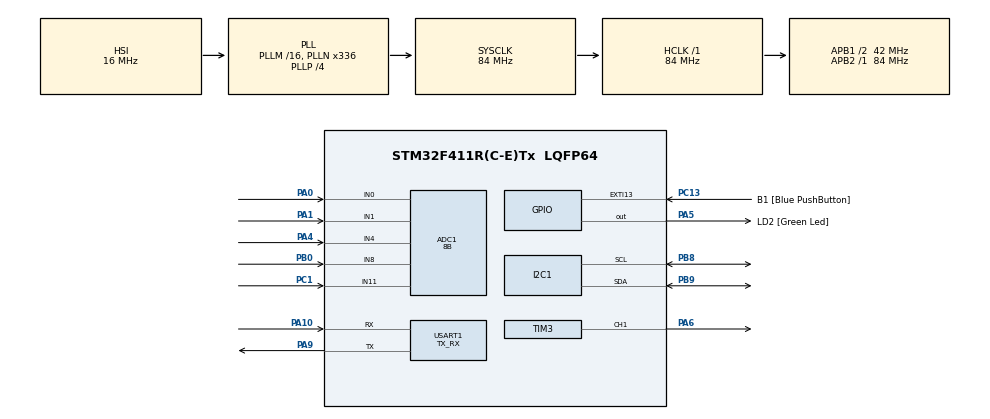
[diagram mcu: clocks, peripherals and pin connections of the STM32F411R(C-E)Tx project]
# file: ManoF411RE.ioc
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Mcu.Family=STM32F4
FREERTOS.Queues01=Queue,16,struct datos,0,Dynamic,NULL,NULL;myQueue02,16,struct presion,0,Dynamic,NULL,NULL
RCC.CortexFreq_Value=84000000
FREERTOS.BinarySemaphores01=BinarySem,Dynamic,NULL
ADC1.ContinuousConvMode=ENABLE
SH.SharedAnalog_PA4.0=GPIO_Analog
SH.SharedAnalog_PA4.1=ADC1_IN4,IN4
FREERTOS.Events01=Flag,Dynamic,NULL
USART1.WordLength=WORDLENGTH_8B
PA14.GPIO_Label=TCK
RCC.SYSCLKSource=RCC_SYSCLKSOURCE_PLLCLK
ProjectManager.StackSize=0x400
VP_FREERTOS_VS_CMSIS_V2.Mode=CMSIS_V2
PH0\ -\ OSC_IN.Signal=RCC_OSC_IN
ADC1.Channel-3\#ChannelRegularConversion=ADC_CHANNEL_8
RCC.HCLKFreq_Value=84000000
ADC1.Resolution=ADC_RESOLUTION_8B
RCC.APB2TimFreq_Value=84000000
TIM3.Period=20000
ADC1.Channel-2\#ChannelRegularConversion=ADC_CHANNEL_4
ADC1.InjNumberOfConversion=0
RCC.AHBFreq_Value=84000000
TIM3.Channel-PWM\ Generation1\ CH1=TIM_CHANNEL_1
ADC1.Channel-0\#ChannelRegularConversion=ADC_CHANNEL_0
RCC.HSE_VALUE=8000000
ADC1.ScanConvMode=ENABLE
PC13-ANTI_TAMP.Signal=GPXTI13
SH.SharedAnalog_PC1.0=GPIO_Analog
ADC1.SamplingTime-4\#ChannelRegularConversion=ADC_SAMPLETIME_480CYCLES
ADC1.Rank-2\#ChannelRegularConversion=3
PC14-OSC32_IN.Mode=LSE-External-Oscillator
PA14.Mode=Serial_Wire
TIM3.Prescaler=84-1
SH.SharedAnalog_PC1.1=ADC1_IN11,IN11
SH.SharedAnalog_PB0.0=GPIO_Analog
SH.S_TIM3_CH1.0=TIM3_CH1,PWM Generation1 CH1
ADC1.SamplingTime-0\#ChannelRegularConversion=ADC_SAMPLETIME_480CYCLES
RCC.FLatency-AdvancedSettings=FLASH_LATENCY_2
SH.SharedAnalog_PB0.1=ADC1_IN8,IN8
Mcu.Package=LQFP64
PB9.Signal=I2C1_SDA
PA6.Signal=S_TIM3_CH1
PA10.Signal=USART1_RX
RCC.APB1TimFreq_Value=84000000
NVIC.USART1_IRQn=true\:5\:0\:false\:false\:true\:true\:true\:true
VP_TIM3_VS_ClockSourceINT.Mode=Internal
ADC1.Rank-4\#ChannelRegularConversion=5
PB3.GPIO_Label=SWO
PC15-OSC32_OUT.Mode=LSE-External-Oscillator
FREERTOS.Tasks01=Tarea1,24,128,Presion,Default,NULL,Dynamic,NULL,NULL;Tarea2,24,128,MoveServos,Default,NULL,Dynamic,NULL,NULL
ADC1.Rank-0\#ChannelRegularConversion=1
ADC1.Channel-4\#ChannelRegularConversion=ADC_CHANNEL_11
PA10.Mode=Asynchronous
PC13-ANTI_TAMP.GPIO_Label=B1 [Blue PushButton]
SH.SharedAnalog_PA0.0=GPIO_Analog
SH.SharedAnalog_PA0.1=ADC1_IN0,IN0
PH1\ -\ OSC_OUT.Mode=HSE-External-Clock-Source
RCC.APB1CLKDivider=RCC_HCLK_DIV2
PC14-OSC32_IN.Signal=RCC_OSC32_IN
ADC1.SamplingTime-2\#ChannelRegularConversion=ADC_SAMPLETIME_480CYCLES
PA0-WKUP.Signal=SharedAnalog_PA0
PA13.Signal=SYS_JTMS-SWDIO
PA9.Mode=Asynchronous
PH0\ -\ OSC_IN.Mode=HSE-External-Clock-Source
TIM3.Pulse-PWM\ Generation1\ CH1=500
ProjectManager.TargetToolchain=STM32CubeIDE
I2C1.I2C_Mode=I2C_Fast
PB9.Mode=I2C
PA9.Signal=USART1_TX
USART1.Parity=PARITY_NONE
ADC1.Channel-1\#ChannelRegularConversion=ADC_CHANNEL_1
PC15-OSC32_OUT.Signal=RCC_OSC32_OUT
PA1.Signal=SharedAnalog_PA1
PA5.Signal=GPIO_Output
PH1\ -\ OSC_OUT.Signal=RCC_OSC_OUT
board=NUCLEO-F411RE
RCC.VCOOutputFreq_Value=336000000
RCC.APB2Freq_Value=84000000
USART1.Mode=MODE_TX_RX
ADC1.NbrOfConversion=5
PA13.Mode=Serial_Wire
Mcu.Name=STM32F411R(C-E)Tx
PA13.GPIO_Label=TMS
RCC.48MHZClocksFreq_Value=84000000
PB3.Signal=SYS_JTDO-SWO
PA4.Signal=SharedAnalog_PA4
ADC1.SamplingTime-1\#ChannelRegularConversion=ADC_SAMPLETIME_480CYCLES
RCC.SYSCLKFreq_VALUE=84000000
ADC1.master=1
PA5.GPIO_Label=LD2 [Green Led]
ADC1.Rank-3\#ChannelRegularConversion=4
ADC1.SamplingTime-3\#ChannelRegularConversion=ADC_SAMPLETIME_480CYCLES
USART1.VirtualMode=VM_ASYNC
PC13-ANTI_TAMP.GPIO_ModeDefaultEXTI=GPIO_MODE_IT_FALLING
ADC1.Rank-1\#ChannelRegularConversion=2
PA14.Signal=SYS_JTCK-SWCLK
ProjectManager.HeapSize=0x200
RCC.HSI_VALUE=16000000
SH.SharedAnalog_PA1.1=ADC1_IN1,IN1
RCC.PLLP=RCC_PLLP_DIV4
NVIC.PriorityGroup=NVIC_PRIORITYGROUP_4
SH.SharedAnalog_PA1.0=GPIO_Analog
ADC1.NbrOfConversionFlag=1
PB8.Mode=I2C
RCC.PLLN=336
PB8.Signal=I2C1_SCL
RCC.APB1Freq_Value=42000000
PB0.Signal=SharedAnalog_PB0
PC1.Signal=SharedAnalog_PC1

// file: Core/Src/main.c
/* USER CODE BEGIN Header */
/**
  ******************************************************************************
  * @file           : main.c
  * @brief          : Main program body
  ******************************************************************************
  * @attention
  *
  * <h2><center>&copy; Copyright (c) 2021 STMicroelectronics.
  * All rights reserved.</center></h2>
  *
  * This software component is licensed by ST under BSD 3-Clause license,
  * the "License"; You may not use this file except in compliance with the
  * License. You may obtain a copy of the License at:
  *                        opensource.org/licenses/BSD-3-Clause
  *
  ******************************************************************************
  */
/* USER CODE END Header */
#include "main.h"
#include "cmsis_os.h"

#include "pca9685_module.h"
#include "app_common_typedef.h"

ADC_HandleTypeDef hadc1;

I2C_HandleTypeDef hi2c1;

TIM_HandleTypeDef htim3;

UART_HandleTypeDef huart1;

/* Definitions for Tarea1 */
osThreadId_t Tarea1Handle;
const osThreadAttr_t Tarea1_attributes = {
  .name = "Tarea1",
  .stack_size = 128 * 4,
  .priority = (osPriority_t) osPriorityNormal,
};
/* Definitions for Tarea2 */
osThreadId_t Tarea2Handle;
const osThreadAttr_t Tarea2_attributes = {
  .name = "Tarea2",
  .stack_size = 128 * 4,
  .priority = (osPriority_t) osPriorityNormal,
};
/* Definitions for Queue */
osMessageQueueId_t QueueHandle;
const osMessageQueueAttr_t Queue_attributes = {
  .name = "Queue"
};
/* Definitions for myQueue02 */
osMessageQueueId_t myQueue02Handle;
const osMessageQueueAttr_t myQueue02_attributes = {
  .name = "myQueue02"
};
/* Definitions for BinarySem */
osSemaphoreId_t BinarySemHandle;
const osSemaphoreAttr_t BinarySem_attributes = {
  .name = "BinarySem"
};
/* Definitions for Flag */
osEventFlagsId_t FlagHandle;
const osEventFlagsAttr_t Flag_attributes = {
  .name = "Flag"
};

void SystemClock_Config(void);
static void MX_GPIO_Init(void);
static void MX_I2C1_Init(void);
static void MX_USART1_UART_Init(void);
static void MX_ADC1_Init(void);
static void MX_TIM3_Init(void);
void Presion(void *argument);
void MoveServos(void *argument);

/* USER CODE BEGIN 0 */
//DEFINE HERE
#define Pulgar
#define Indice
#define Medio
#define Anular
#define Menique

#define Gyroscope
#define Press_On
#define Run

#define OPEN 180
#define PressMaxIndice  25
#define PressMaxPalma   10

//GLOBAL VARIABLE HERE
uint8_t buffRx[9];
struct datos Dedos;
Init_State Flag_Init = OPEN_HAND;

//END GLOBAL VARIABLES

//DEBUG VARIABLES
struct presion press;

uint8_t buffError[1] = {20};
//uint8_t count = 0;
//uint8_t testigo = 0;

//struct datos buff;

//END DEBUG VARIABLES

/* USER CODE END 0 */

int main(void)
{

  /* MCU Configuration--------------------------------------------------------*/

  /* Reset of all peripherals, Initializes the Flash interface and the Systick. */
  HAL_Init();

  /* Configure the system clock */
  SystemClock_Config();

  /* Initialize all configured peripherals */
  MX_GPIO_Init();
  MX_I2C1_Init();
  MX_USART1_UART_Init();
  MX_ADC1_Init();
  MX_TIM3_Init();
  /* USER CODE BEGIN 2 */

  __HAL_UART_ENABLE_IT(&huart1,UART_IT_TC);
  __HAL_UART_ENABLE_IT(&huart1,UART_IT_RXNE);

	pca9685_init(&hi2c1, 0x80);
	HAL_TIM_PWM_Start(&htim3, TIM_CHANNEL_1);

  /* USER CODE END 2 */

  /* Init scheduler */
  osKernelInitialize();

  /* Create the semaphores(s) */
  /* creation of BinarySem */
  BinarySemHandle = osSemaphoreNew(1, 1, &BinarySem_attributes);

  /* Create the queue(s) */
  /* creation of Queue */
  QueueHandle = osMessageQueueNew (16, sizeof(struct datos), &Queue_attributes);

  /* creation of myQueue02 */
  myQueue02Handle = osMessageQueueNew (16, sizeof(struct presion), &myQueue02_attributes);

  /* Create the thread(s) */
  /* creation of Tarea1 */
  Tarea1Handle = osThreadNew(Presion, NULL, &Tarea1_attributes);

  /* creation of Tarea2 */
  Tarea2Handle = osThreadNew(MoveServos, NULL, &Tarea2_attributes);

  /* Create the event(s) */
  /* creation of Flag */
  FlagHandle = osEventFlagsNew(&Flag_attributes);

  /* USER CODE BEGIN RTOS_EVENTS */
  /* add events, ... */

  HAL_UART_Receive_IT(&huart1,buffRx,9);

  /* USER CODE END RTOS_EVENTS */

  /* Start scheduler */
  osKernelStart();

  /* We should never get here as control is now taken by the scheduler */
  /* Infinite loop */
  while (1)
  {

  }
}

void SystemClock_Config(void)
{
  RCC_OscInitTypeDef RCC_OscInitStruct = {0};
  RCC_ClkInitTypeDef RCC_ClkInitStruct = {0};

  /** Configure the main internal regulator output voltage
  */
  __HAL_RCC_PWR_CLK_ENABLE();
  __HAL_PWR_VOLTAGESCALING_CONFIG(PWR_REGULATOR_VOLTAGE_SCALE1);
  /** Initializes the RCC Oscillators according to the specified parameters
  * in the RCC_OscInitTypeDef structure.
  */
  RCC_OscInitStruct.OscillatorType = RCC_OSCILLATORTYPE_HSI;
  RCC_OscInitStruct.HSIState = RCC_HSI_ON;
  RCC_OscInitStruct.HSICalibrationValue = RCC_HSICALIBRATION_DEFAULT;
  RCC_OscInitStruct.PLL.PLLState = RCC_PLL_ON;
  RCC_OscInitStruct.PLL.PLLSource = RCC_PLLSOURCE_HSI;
  RCC_OscInitStruct.PLL.PLLM = 16;
  RCC_OscInitStruct.PLL.PLLN = 336;
  RCC_OscInitStruct.PLL.PLLP = RCC_PLLP_DIV4;
  RCC_OscInitStruct.PLL.PLLQ = 4;
  if (HAL_RCC_OscConfig(&RCC_OscInitStruct) != HAL_OK)
  {
    Error_Handler();
  }
  /** Initializes the CPU, AHB and APB buses clocks
  */
  RCC_ClkInitStruct.ClockType = RCC_CLOCKTYPE_HCLK|RCC_CLOCKTYPE_SYSCLK
                              |RCC_CLOCKTYPE_PCLK1|RCC_CLOCKTYPE_PCLK2;
  RCC_ClkInitStruct.SYSCLKSource = RCC_SYSCLKSOURCE_PLLCLK;
  RCC_ClkInitStruct.AHBCLKDivider = RCC_SYSCLK_DIV1;
  RCC_ClkInitStruct.APB1CLKDivider = RCC_HCLK_DIV2;
  RCC_ClkInitStruct.APB2CLKDivider = RCC_HCLK_DIV1;

  if (HAL_RCC_ClockConfig(&RCC_ClkInitStruct, FLASH_LATENCY_2) != HAL_OK)
  {
    Error_Handler();
  }
}

static void MX_ADC1_Init(void)
{

  ADC_ChannelConfTypeDef sConfig = {0};

  /** Configure the global features of the ADC (Clock, Resolution, Data Alignment and number of conversion)
  */
  hadc1.Instance = ADC1;
  hadc1.Init.ClockPrescaler = ADC_CLOCK_SYNC_PCLK_DIV4;
  hadc1.Init.Resolution = ADC_RESOLUTION_8B;
  hadc1.Init.ScanConvMode = ENABLE;
  hadc1.Init.ContinuousConvMode = ENABLE;
  hadc1.Init.DiscontinuousConvMode = DISABLE;
  hadc1.Init.ExternalTrigConvEdge = ADC_EXTERNALTRIGCONVEDGE_NONE;
  hadc1.Init.ExternalTrigConv = ADC_SOFTWARE_START;
  hadc1.Init.DataAlign = ADC_DATAALIGN_RIGHT;
  hadc1.Init.NbrOfConversion = 5;
  hadc1.Init.DMAContinuousRequests = DISABLE;
  hadc1.Init.EOCSelection = ADC_EOC_SINGLE_CONV;
  if (HAL_ADC_Init(&hadc1) != HAL_OK)
  {
    Error_Handler();
  }
  /** Configure for the selected ADC regular channel its corresponding rank in the sequencer and its sample time.
  */
  sConfig.Channel = ADC_CHANNEL_0;
  sConfig.Rank = 1;
  sConfig.SamplingTime = ADC_SAMPLETIME_480CYCLES;
  if (HAL_ADC_ConfigChannel(&hadc1, &sConfig) != HAL_OK)
  {
    Error_Handler();
  }
  /** Configure for the selected ADC regular channel its corresponding rank in the sequencer and its sample time.
  */
  sConfig.Channel = ADC_CHANNEL_1;
  sConfig.Rank = 2;
  if (HAL_ADC_ConfigChannel(&hadc1, &sConfig) != HAL_OK)
  {
    Error_Handler();
  }
  /** Configure for the selected ADC regular channel its corresponding rank in the sequencer and its sample time.
  */
  sConfig.Channel = ADC_CHANNEL_4;
  sConfig.Rank = 3;
  if (HAL_ADC_ConfigChannel(&hadc1, &sConfig) != HAL_OK)
  {
    Error_Handler();
  }
  /** Configure for the selected ADC regular channel its corresponding rank in the sequencer and its sample time.
  */
  sConfig.Channel = ADC_CHANNEL_8;
  sConfig.Rank = 4;
  if (HAL_ADC_ConfigChannel(&hadc1, &sConfig) != HAL_OK)
  {
    Error_Handler();
  }
  /** Configure for the selected ADC regular channel its corresponding rank in the sequencer and its sample time.
  */
  sConfig.Channel = ADC_CHANNEL_11;
  sConfig.Rank = 5;
  if (HAL_ADC_ConfigChannel(&hadc1, &sConfig) != HAL_OK)
  {
    Error_Handler();
  }

}

static void MX_I2C1_Init(void)
{

  hi2c1.Instance = I2C1;
  hi2c1.Init.ClockSpeed = 400000;
  hi2c1.Init.DutyCycle = I2C_DUTYCYCLE_2;
  hi2c1.Init.OwnAddress1 = 0;
  hi2c1.Init.AddressingMode = I2C_ADDRESSINGMODE_7BIT;
  hi2c1.Init.DualAddressMode = I2C_DUALADDRESS_DISABLE;
  hi2c1.Init.OwnAddress2 = 0;
  hi2c1.Init.GeneralCallMode = I2C_GENERALCALL_DISABLE;
  hi2c1.Init.NoStretchMode = I2C_NOSTRETCH_DISABLE;
  if (HAL_I2C_Init(&hi2c1) != HAL_OK)
  {
    Error_Handler();
  }

}

static void MX_TIM3_Init(void)
{

  TIM_ClockConfigTypeDef sClockSourceConfig = {0};
  TIM_MasterConfigTypeDef sMasterConfig = {0};
  TIM_OC_InitTypeDef sConfigOC = {0};

  htim3.Instance = TIM3;
  htim3.Init.Prescaler = 84-1;
  htim3.Init.CounterMode = TIM_COUNTERMODE_UP;
  htim3.Init.Period = 20000;
  htim3.Init.ClockDivision = TIM_CLOCKDIVISION_DIV1;
  htim3.Init.AutoReloadPreload = TIM_AUTORELOAD_PRELOAD_DISABLE;
  if (HAL_TIM_Base_Init(&htim3) != HAL_OK)
  {
    Error_Handler();
  }
  sClockSourceConfig.ClockSource = TIM_CLOCKSOURCE_INTERNAL;
  if (HAL_TIM_ConfigClockSource(&htim3, &sClockSourceConfig) != HAL_OK)
  {
    Error_Handler();
  }
  if (HAL_TIM_PWM_Init(&htim3) != HAL_OK)
  {
    Error_Handler();
  }
  sMasterConfig.MasterOutputTrigger = TIM_TRGO_RESET;
  sMasterConfig.MasterSlaveMode = TIM_MASTERSLAVEMODE_DISABLE;
  if (HAL_TIMEx_MasterConfigSynchronization(&htim3, &sMasterConfig) != HAL_OK)
  {
    Error_Handler();
  }
  sConfigOC.OCMode = TIM_OCMODE_PWM1;
  sConfigOC.Pulse = 500;
  sConfigOC.OCPolarity = TIM_OCPOLARITY_HIGH;
  sConfigOC.OCFastMode = TIM_OCFAST_DISABLE;
  if (HAL_TIM_PWM_ConfigChannel(&htim3, &sConfigOC, TIM_CHANNEL_1) != HAL_OK)
  {
    Error_Handler();
  }
  HAL_TIM_MspPostInit(&htim3);

}

static void MX_USART1_UART_Init(void)
{

  huart1.Instance = USART1;
  huart1.Init.BaudRate = 115200;
  huart1.Init.WordLength = UART_WORDLENGTH_8B;
  huart1.Init.StopBits = UART_STOPBITS_1;
  huart1.Init.Parity = UART_PARITY_NONE;
  huart1.Init.Mode = UART_MODE_TX_RX;
  huart1.Init.HwFlowCtl = UART_HWCONTROL_NONE;
  huart1.Init.OverSampling = UART_OVERSAMPLING_16;
  if (HAL_UART_Init(&huart1) != HAL_OK)
  {
    Error_Handler();
  }

}

static void MX_GPIO_Init(void)
{
  GPIO_InitTypeDef GPIO_InitStruct = {0};

  /* GPIO Ports Clock Enable */
  __HAL_RCC_GPIOC_CLK_ENABLE();
  __HAL_RCC_GPIOH_CLK_ENABLE();
  __HAL_RCC_GPIOA_CLK_ENABLE();
  __HAL_RCC_GPIOB_CLK_ENABLE();

  /*Configure GPIO pin Output Level */
  HAL_GPIO_WritePin(LD2_GPIO_Port, LD2_Pin, GPIO_PIN_RESET);

  /*Configure GPIO pin : B1_Pin */
  GPIO_InitStruct.Pin = B1_Pin;
  GPIO_InitStruct.Mode = GPIO_MODE_IT_FALLING;
  GPIO_InitStruct.Pull = GPIO_NOPULL;
  HAL_GPIO_Init(B1_GPIO_Port, &GPIO_InitStruct);

  /*Configure GPIO pin : LD2_Pin */
  GPIO_InitStruct.Pin = LD2_Pin;
  GPIO_InitStruct.Mode = GPIO_MODE_OUTPUT_PP;
  GPIO_InitStruct.Pull = GPIO_NOPULL;
  GPIO_InitStruct.Speed = GPIO_SPEED_FREQ_LOW;
  HAL_GPIO_Init(LD2_GPIO_Port, &GPIO_InitStruct);

}

/* USER CODE BEGIN 4 */

void HAL_UART_RxCpltCallback(UART_HandleTypeDef *huart)
{
	//struct datos Dedos;
	if(RUNNING_CODE == Flag_Init)
	{
		for(int i = 0; i<9; i++)
		{
			if(buffRx[i] == 200)
			{
				Dedos.Move_pulgar  = buffRx[(i+1)%9];
				Dedos.Move_indice  = buffRx[(i+2)%9];
				Dedos.Move_corazon = buffRx[(i+3)%9];
				Dedos.Move_anular  = buffRx[(i+4)%9];
				Dedos.Move_menique = buffRx[(i+5)%9];
				Dedos.Move_ejeX    = buffRx[(i+6)%9];
				Dedos.Move_ejeY    = buffRx[(i+7)%9];
				break;
			}
		}

		osMessageQueuePut(QueueHandle, &Dedos, 0, 0);
	}

	HAL_UART_Receive_IT(&huart1, buffRx, 9);
}

/* USER CODE END 4 */

void Presion(void *argument)
{
  /* USER CODE BEGIN 5 */
#ifdef Press_On
	HAL_StatusTypeDef status;
	//struct presion press;
#endif //Press_On
  /* Infinite loop */
  for(;;)
  {

#ifdef Press_On
		  HAL_ADC_Start(&hadc1);
			  status = HAL_ADC_PollForConversion(&hadc1, 1);
			  if(status == HAL_OK){
				  press.Pres_Pulgar = HAL_ADC_GetValue(&hadc1);
			  }

			  status = HAL_ADC_PollForConversion(&hadc1, 1);
			  if(status == HAL_OK){
				  press.Pres_Menique = HAL_ADC_GetValue(&hadc1);
			  }

			  status = HAL_ADC_PollForConversion(&hadc1, 1);
			  if(status == HAL_OK){
				  press.Pres_Anular = HAL_ADC_GetValue(&hadc1);
			  }

			  status = HAL_ADC_PollForConversion(&hadc1, 1);
			  if(status == HAL_OK){
				  press.Pres_Corazon = HAL_ADC_GetValue(&hadc1);
			  }

			  status = HAL_ADC_PollForConversion(&hadc1, 1);
			  if(status == HAL_OK){
				  press.Pres_Indice = HAL_ADC_GetValue(&hadc1);
			  }

			  HAL_ADC_Stop(&hadc1);

			  osMessageQueuePut(myQueue02Handle, &press, 0, 0);
#endif //Press_On
	  osDelay(5);

  }
  /* USER CODE END 5 */
}

void MoveServos(void *argument)
{
  /* USER CODE BEGIN MoveServos */
#if defined(Pulgar) || defined(Indice) || defined(Medio) || defined(Anular) || defined(Menique) || defined(Gyroscope)
	osStatus_t val1;
	struct datos buff;
	struct datos Old_Move;
#endif // defined(Pulgar) || defined(Indice) || defined(Medio) || defined(Anular) || defined(Menique) || defined(Gyroscope)
#ifdef Press_On
	osStatus_t val2;
	struct presion pres;
	uint8_t flag[5] = {0,0,0,0,0};
#endif // Press_On
  /* Infinite loop */
  for(;;)
  {
	  switch(Flag_Init)
	  {
	  	  case OPEN_HAND:
#ifdef Pulgar
	  		Pulgar_Mov(&hi2c1, 0x80, OPEN);
#endif // Pulgar
#ifdef Indice
	  		Indice_Mov(&hi2c1, 0x80, OPEN);
#endif // Indice
#ifdef Medio
	  		Corazon_Mov(&hi2c1, 0x80, OPEN);
#endif // Medio
#ifdef Anular
	  		Anular_Mov(&hi2c1, 0x80, OPEN);
#endif // Anular
#ifdef Menique
	  		Menique_Mov(&hi2c1, 0x80, OPEN);
#endif // Menique
#ifdef Gyroscope
	  		EjeX_Mov(htim3, (OPEN/2));
	  		EjeY_Mov(&hi2c1, 0x80, (OPEN/2));

#endif // Gyroscope

	  		osDelay(5000);
#ifdef Run
	  		Flag_Init = RUNNING_CODE;
#endif // Run
	  		  break;

	  	  case RUNNING_CODE:
#if defined(Pulgar) || defined(Indice) || defined(Medio) || defined(Anular) || defined(Menique) || defined(Gyroscope)
	  		  val1 = osMessageQueueGet(QueueHandle, &buff, NULL, osWaitForever);
#endif //defined(Pulgar) || defined(Indice) || defined(Medio) || defined(Anular) || defined(Menique) || defined(Gyroscope)
#ifdef Press_On
	  		  val2 = osMessageQueueGet(myQueue02Handle, &pres, NULL, osWaitForever);
#endif //Press_On

	  		  if((
#if defined(Pulgar) || defined(Indice) || defined(Medio) || defined(Anular) || defined(Menique)
	  				  val1
#endif // defined(Pulgar) || defined(Indice) || defined(Medio) || defined(Anular) || defined(Menique)
#ifdef Press_On
					  && val2
#endif //Press_On
	  		  	  	  	  	  ) == osOK)
	  		  {

#ifdef Indice
		 	 	 	 if(PressMaxIndice <= pres.Pres_Indice)
		 	 	 	{
		 	 	 		 if(0 == flag[1])
		 	 	 		 {
		 	 	 			 Old_Move.Move_indice = buff.Move_indice;
		 	 	 			 flag[1] = 1;
		 	 	 		 }

						 if(buff.Move_indice > Old_Move.Move_indice) //opening
						 {
							Indice_Mov(&hi2c1, 0x80, buff.Move_indice);
						 }

		 	 	 	}
		 	 	 	else
		 	 	 	{
						Indice_Mov(&hi2c1, 0x80, buff.Move_indice);
						flag[1] = 0;
		 	 	 	}
#endif //Indice

#ifdef Pulgar
		 	 	 	 if(PressMaxPalma <= pres.Pres_Pulgar)
		 	 	 	 {
		 	 	 		 if(0 == flag[0])
		 	 	 		 {
		 	 	 			Old_Move.Move_pulgar= buff.Move_pulgar;
		 	 	 			flag[0] = 1;
		 	 	 		 }
		 	 	 		 if(buff.Move_pulgar > Old_Move.Move_pulgar)
		 	 	 		 {
		 	 	 			Pulgar_Mov(&hi2c1, 0x80, buff.Move_pulgar);
		 	 	 		 }
		 	 	 	 }
		 	 	 	 else
		 	 	 	 {
		 	 	 		 Pulgar_Mov(&hi2c1, 0x80, buff.Move_pulgar);
		 	 	 		 flag[0] = 0;
		 	 	 	 }
#endif //Pulgar

#ifdef Medio
		 	 	 	 if(PressMaxPalma <= pres.Pres_Pulgar)
		 	 	 	 {
		 	 	 		 if(0 == flag[2])
		 	 	 		 {
		 	 	 			Old_Move.Move_corazon= buff.Move_corazon;
		 	 	 			flag[2] = 1;
		 	 	 		 }
		 	 	 		 if(buff.Move_corazon > Old_Move.Move_corazon)
		 	 	 		 {
		 	 	 			 Corazon_Mov(&hi2c1, 0x80, buff.Move_corazon);
		 	 	 		 }
		 	 	 	 }
		 	 	 	 else
		 	 	 	 {
		 	 	 		 Corazon_Mov(&hi2c1, 0x80, buff.Move_corazon);
		 	 	 		 flag[2] = 0;
		 	 	 	 }
#endif //Medio

#ifdef Anular
		 	 	 	 if(PressMaxPalma <= pres.Pres_Pulgar)
		 	 	 	 {
		 	 	 		 if(0 == flag[3])
		 	 	 		 {
		 	 	 			Old_Move.Move_anular= buff.Move_anular;
		 	 	 			flag[3] = 1;
		 	 	 		 }
		 	 	 		 if(buff.Move_anular > Old_Move.Move_anular)
		 	 	 		 {
		 	 	 			 Anular_Mov(&hi2c1, 0x80, buff.Move_anular);
		 	 	 		 }
		 	 	 	 }
		 	 	 	 else
		 	 	 	 {
		 	 	 		 Anular_Mov(&hi2c1, 0x80, buff.Move_anular);
		 	 	 		 flag[3] = 0;
		 	 	 	 }
#endif //Anular

#ifdef Menique
		 	 	 	 if(PressMaxPalma <= pres.Pres_Pulgar)
		 	 	 	 {
		 	 	 		 if(0 == flag[3])
		 	 	 		 {
		 	 	 			Old_Move.Move_menique= buff.Move_menique;
		 	 	 			flag[4] = 1;
		 	 	 		 }
		 	 	 		 if(buff.Move_menique > Old_Move.Move_menique)
		 	 	 		 {
		 	 	 			 Menique_Mov(&hi2c1, 0x80, buff.Move_menique);
		 	 	 		 }
		 	 	 	 }
		 	 	 	 else
		 	 	 	 {
		 	 	 		 Menique_Mov(&hi2c1, 0x80, buff.Move_menique);
		 	 	 		 flag[4] = 0;
		 	 	 	 }
#endif //Menique
#ifdef Gyroscope
		 	  		EjeX_Mov(htim3, buff.Move_ejeY);
		 	  		EjeY_Mov(&hi2c1, 0x80, buff.Move_ejeX);
#endif //Gyroscope
	  		  }
	  		  break;
	  }

	  osDelay(5);

  }
  /* USER CODE END MoveServos */
}

void Error_Handler(void)
{
  __disable_irq();
  while (1)
  {
  }
}

/************************ (C) COPYRIGHT STMicroelectronics *****END OF FILE****/
